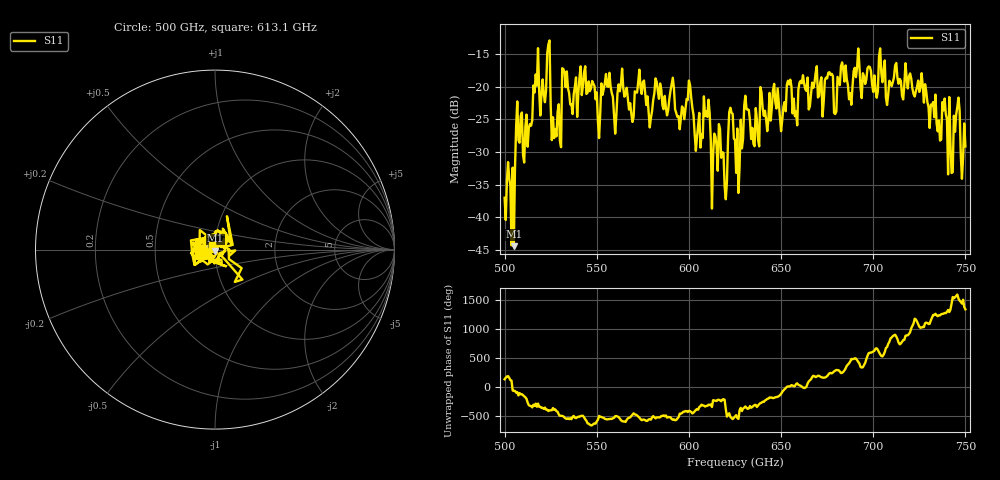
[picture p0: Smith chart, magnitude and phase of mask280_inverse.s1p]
!Created with skrf (http://scikit-rf.org).
# GHz S MA R 50.0
!freq magS11 angS11
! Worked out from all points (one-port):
!   401 points, 500 GHz to 750 GHz, reference 50 ohm
!   lowest |S11| = -44.4 dB at 505 GHz (marker M1), VSWR 1.01, Z = 50.2 - j0.573 ohm
!   |S11| at or under -10 dB: start of sweep to end of sweep
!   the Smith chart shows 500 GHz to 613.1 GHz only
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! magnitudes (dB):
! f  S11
! 500 GHz  -37.0
! 505 GHz  -44.4
! 507.5 GHz  -28.2
! 513.8 GHz  -25.7
! 516.9 GHz  -18.1
! 523.8 GHz  -13.5
! 526.9 GHz  -27.9
! 531.2 GHz  -17.2
! 550.6 GHz  -25.2
! 555.6 GHz  -19.9
! 560 GHz  -27.2
! 562.5 GHz  -20.7
! 568.8 GHz  -24.1
! 590.6 GHz  -19.6
! 593.8 GHz  -24.6
! 609.4 GHz  -23.8
! 619.4 GHz  -35.3
! 622.5 GHz  -23.2
! 625 GHz  -28.1
! 656.2 GHz  -24.1
! 687.5 GHz  -21.0
! 691.2 GHz  -17.0
! 718.8 GHz  -20.3
! 735.6 GHz  -25.2
! 738.8 GHz  -21.8
! 741.9 GHz  -28.6
! 745.6 GHz  -23.1
! 750 GHz  -29.1
